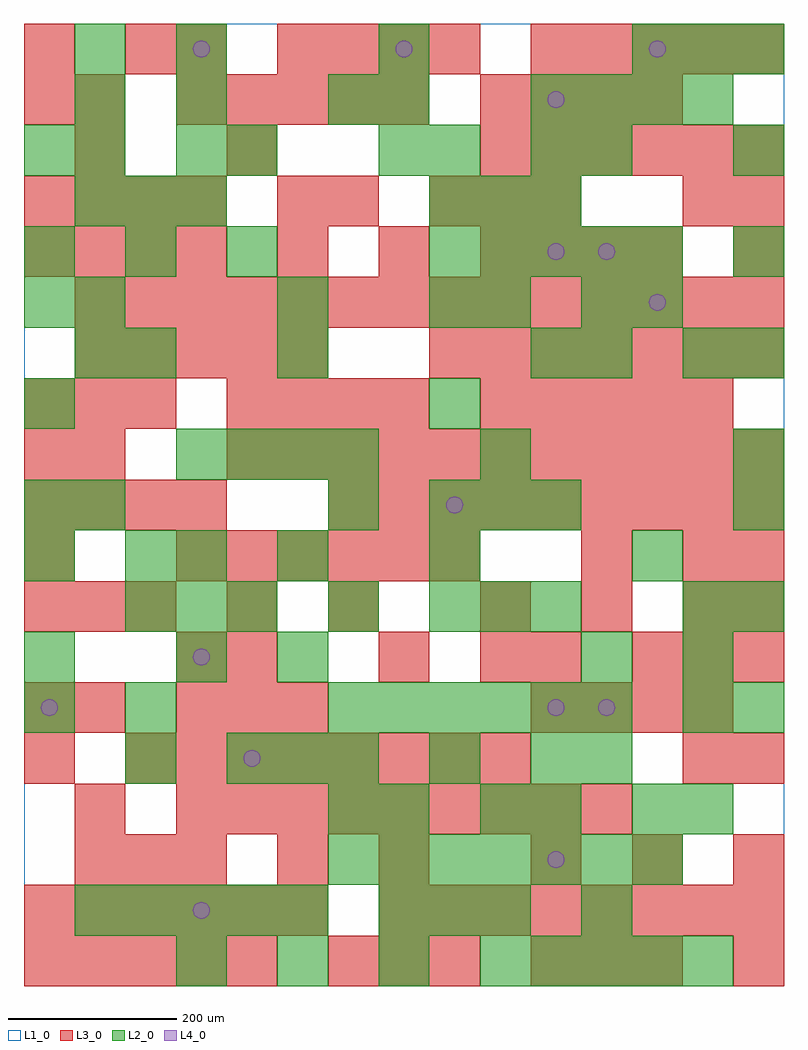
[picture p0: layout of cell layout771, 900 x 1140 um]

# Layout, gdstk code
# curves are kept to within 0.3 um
import gdstk
lib = gdstk.Library(unit=1e-6, precision=1e-09)
def R(c, l, rs):  # rectangles x0, y0, x1, y1
    for r in rs: c.add(gdstk.rectangle(r[:2], r[2:], *l))
def A(c, l, x, y, w, h, nx, ny, dx, dy):  # array of equal rectangles
    R(c, l, [(x+i*dx, y+j*dy, x+i*dx+w, y+j*dy+h) for i in range(nx) for j in range(ny)])
def P(c, l, *ps):  # polygons
    for p in ps: c.add(gdstk.Polygon(p, *l))
L1_0 = (1, 0)
L2_0 = (2, 0)
L3_0 = (3, 0)
L4_0 = (4, 0)

layout771 = lib.new_cell('layout771')
R(layout771, L1_0, [(0,0,900,1140)])
A(layout771, L2_0, 180, 0, 60, 60, 4, 1, 120, 0)
A(layout771, L2_0, 600, 0, 60, 60, 4, 2, 60, 1020)
A(layout771, L2_0, 60, 60, 60, 60, 5, 1, 60, 0)
A(layout771, L2_0, 420, 60, 60, 60, 3, 1, 60, 0)
A(layout771, L2_0, 360, 120, 60, 60, 7, 1, 60, 0)
A(layout771, L2_0, 720, 180, 60, 60, 1, 3, 0, 300)
A(layout771, L2_0, 240, 240, 60, 60, 3, 1, 60, 0)
A(layout771, L2_0, 360, 300, 60, 60, 6, 1, 60, 0)
A(layout771, L2_0, 780, 300, 60, 60, 1, 3, 0, 60)
A(layout771, L2_0, 840, 300, 60, 60, 1, 3, 0, 120)
A(layout771, L2_0, 120, 420, 60, 60, 3, 1, 60, 0)
A(layout771, L2_0, 480, 420, 60, 60, 3, 2, 60, 120)
A(layout771, L2_0, 0, 540, 60, 60, 1, 3, 0, 120)
A(layout771, L2_0, 180, 600, 60, 60, 4, 1, 60, 0)
A(layout771, L2_0, 840, 600, 60, 60, 1, 4, 0, 120)
A(layout771, L2_0, 0, 840, 60, 60, 3, 1, 120, 0)
A(layout771, L2_0, 480, 840, 60, 60, 5, 1, 60, 0)
A(layout771, L2_0, 60, 900, 60, 60, 3, 1, 60, 0)
A(layout771, L2_0, 480, 900, 60, 60, 3, 1, 60, 0)
A(layout771, L2_0, 60, 960, 60, 60, 1, 3, 0, 60)
A(layout771, L2_0, 180, 960, 60, 60, 1, 3, 0, 60)
A(layout771, L2_0, 420, 960, 60, 60, 1, 3, 0, 60)
A(layout771, L2_0, 720, 1080, 60, 60, 3, 1, 60, 0)
R(layout771, L2_0, [(660,60,720,120), (360,180,420,240), (420,180,480,240), (540,180,600,240), (600,180,660,240), (780,180,840,240), (120,240,180,300), (480,240,540,300), (600,240,660,300), (660,240,720,300), (0,300,60,360), (120,300,180,360), (0,360,60,420), (180,360,240,420), (300,360,360,420), (660,360,720,420), (360,420,420,480), (0,480,60,540), (120,480,180,540), (180,480,240,540), (300,480,360,540), (480,480,540,540), (60,540,120,600), (360,540,420,600), (540,600,600,660), (480,660,540,720), (60,720,120,780), (120,720,180,780), (300,720,360,780), (600,720,660,780), (660,720,720,780), (780,720,840,780), (60,780,120,840), (300,780,360,840), (480,780,540,840), (540,780,600,840), (660,780,720,840), (0,960,60,1020), (240,960,300,1020), (480,960,540,1020), (600,960,660,1020), (660,960,720,1020), (360,1020,420,1080)])
A(layout771, L3_0, 0, 0, 60, 60, 5, 1, 60, 0)
A(layout771, L3_0, 360, 0, 60, 60, 3, 1, 60, 0)
A(layout771, L3_0, 600, 0, 60, 60, 3, 2, 60, 840)
A(layout771, L3_0, 0, 60, 60, 60, 6, 1, 60, 0)
A(layout771, L3_0, 420, 60, 60, 60, 8, 1, 60, 0)
A(layout771, L3_0, 60, 120, 60, 60, 3, 1, 60, 0)
A(layout771, L3_0, 600, 120, 60, 60, 3, 1, 120, 0)
A(layout771, L3_0, 180, 180, 60, 60, 9, 1, 60, 0)
A(layout771, L3_0, 120, 240, 60, 60, 8, 1, 60, 0)
A(layout771, L3_0, 180, 300, 60, 60, 3, 1, 60, 0)
A(layout771, L3_0, 600, 300, 60, 60, 4, 1, 60, 0)
A(layout771, L3_0, 720, 360, 60, 60, 3, 1, 60, 0)
A(layout771, L3_0, 0, 420, 60, 60, 3, 2, 60, 240)
A(layout771, L3_0, 540, 420, 60, 60, 3, 1, 120, 0)
A(layout771, L3_0, 180, 480, 60, 60, 6, 1, 60, 0)
A(layout771, L3_0, 0, 540, 60, 60, 4, 2, 60, 300)
A(layout771, L3_0, 360, 540, 60, 60, 9, 1, 60, 0)
A(layout771, L3_0, 240, 600, 60, 60, 11, 1, 60, 0)
A(layout771, L3_0, 240, 660, 60, 60, 4, 1, 60, 0)
A(layout771, L3_0, 540, 660, 60, 60, 5, 1, 60, 0)
A(layout771, L3_0, 60, 720, 60, 60, 5, 1, 60, 0)
A(layout771, L3_0, 480, 720, 60, 60, 7, 1, 60, 0)
A(layout771, L3_0, 60, 780, 60, 60, 14, 1, 60, 0)
A(layout771, L3_0, 300, 840, 60, 60, 3, 1, 120, 0)
A(layout771, L3_0, 0, 900, 60, 60, 4, 1, 60, 0)
A(layout771, L3_0, 480, 900, 60, 60, 3, 1, 60, 0)
A(layout771, L3_0, 540, 960, 60, 60, 6, 1, 60, 0)
A(layout771, L3_0, 180, 1020, 60, 60, 5, 1, 60, 0)
A(layout771, L3_0, 540, 1020, 60, 60, 4, 1, 60, 0)
A(layout771, L3_0, 300, 1080, 60, 60, 4, 1, 60, 0)
A(layout771, L3_0, 600, 1080, 60, 60, 5, 1, 60, 0)
R(layout771, L3_0, [(840,0,900,60), (300,120,360,180), (420,120,480,180), (60,180,120,240), (0,240,60,300), (780,240,840,300), (840,240,900,300), (0,300,60,360), (60,300,120,360), (180,360,240,420), (240,360,300,420), (420,360,480,420), (540,360,600,420), (600,360,660,420), (240,420,300,480), (360,420,420,480), (840,420,900,480), (0,480,60,540), (660,480,720,540), (780,480,840,540), (840,480,900,540), (0,600,60,660), (60,600,120,660), (840,840,900,900), (300,900,360,960), (360,900,420,960), (780,900,840,960), (840,900,900,960), (60,960,120,1020), (240,960,300,1020), (0,1020,60,1080), (60,1020,120,1080), (0,1080,60,1140), (120,1080,180,1140), (180,1080,240,1140)])
P(layout771, L4_0, [(40,330),(39.239,333.827),(37.071,337.071),(33.827,339.239),(30,340),(26.173,339.239),(22.929,337.071),(20.761,333.827),(20,330),(20.761,326.173),(22.929,322.929),(26.173,320.761),(30,320),(33.827,320.761),(37.071,322.929),(39.239,326.173)],
  [(220,90),(219.239,93.827),(217.071,97.071),(213.827,99.239),(210,100),(206.173,99.239),(202.929,97.071),(200.761,93.827),(200,90),(200.761,86.173),(202.929,82.929),(206.173,80.761),(210,80),(213.827,80.761),(217.071,82.929),(219.239,86.173)],
  [(220,390),(219.239,393.827),(217.071,397.071),(213.827,399.239),(210,400),(206.173,399.239),(202.929,397.071),(200.761,393.827),(200,390),(200.761,386.173),(202.929,382.929),(206.173,380.761),(210,380),(213.827,380.761),(217.071,382.929),(219.239,386.173)],
  [(220,1110),(219.239,1113.827),(217.071,1117.071),(213.827,1119.239),(210,1120),(206.173,1119.239),(202.929,1117.071),(200.761,1113.827),(200,1110),(200.761,1106.173),(202.929,1102.929),(206.173,1100.761),(210,1100),(213.827,1100.761),(217.071,1102.929),(219.239,1106.173)],
  [(280,270),(279.239,273.827),(277.071,277.071),(273.827,279.239),(270,280),(266.173,279.239),(262.929,277.071),(260.761,273.827),(260,270),(260.761,266.173),(262.929,262.929),(266.173,260.761),(270,260),(273.827,260.761),(277.071,262.929),(279.239,266.173)],
  [(460,1110),(459.239,1113.827),(457.071,1117.071),(453.827,1119.239),(450,1120),(446.173,1119.239),(442.929,1117.071),(440.761,1113.827),(440,1110),(440.761,1106.173),(442.929,1102.929),(446.173,1100.761),(450,1100),(453.827,1100.761),(457.071,1102.929),(459.239,1106.173)],
  [(520,570),(519.239,573.827),(517.071,577.071),(513.827,579.239),(510,580),(506.173,579.239),(502.929,577.071),(500.761,573.827),(500,570),(500.761,566.173),(502.929,562.929),(506.173,560.761),(510,560),(513.827,560.761),(517.071,562.929),(519.239,566.173)],
  [(640,150),(639.239,153.827),(637.071,157.071),(633.827,159.239),(630,160),(626.173,159.239),(622.929,157.071),(620.761,153.827),(620,150),(620.761,146.173),(622.929,142.929),(626.173,140.761),(630,140),(633.827,140.761),(637.071,142.929),(639.239,146.173)],
  [(640,330),(639.239,333.827),(637.071,337.071),(633.827,339.239),(630,340),(626.173,339.239),(622.929,337.071),(620.761,333.827),(620,330),(620.761,326.173),(622.929,322.929),(626.173,320.761),(630,320),(633.827,320.761),(637.071,322.929),(639.239,326.173)],
  [(640,870),(639.239,873.827),(637.071,877.071),(633.827,879.239),(630,880),(626.173,879.239),(622.929,877.071),(620.761,873.827),(620,870),(620.761,866.173),(622.929,862.929),(626.173,860.761),(630,860),(633.827,860.761),(637.071,862.929),(639.239,866.173)],
  [(640,1050),(639.239,1053.827),(637.071,1057.071),(633.827,1059.239),(630,1060),(626.173,1059.239),(622.929,1057.071),(620.761,1053.827),(620,1050),(620.761,1046.173),(622.929,1042.929),(626.173,1040.761),(630,1040),(633.827,1040.761),(637.071,1042.929),(639.239,1046.173)],
  [(700,330),(699.239,333.827),(697.071,337.071),(693.827,339.239),(690,340),(686.173,339.239),(682.929,337.071),(680.761,333.827),(680,330),(680.761,326.173),(682.929,322.929),(686.173,320.761),(690,320),(693.827,320.761),(697.071,322.929),(699.239,326.173)],
  [(700,870),(699.239,873.827),(697.071,877.071),(693.827,879.239),(690,880),(686.173,879.239),(682.929,877.071),(680.761,873.827),(680,870),(680.761,866.173),(682.929,862.929),(686.173,860.761),(690,860),(693.827,860.761),(697.071,862.929),(699.239,866.173)],
  [(760,810),(759.239,813.827),(757.071,817.071),(753.827,819.239),(750,820),(746.173,819.239),(742.929,817.071),(740.761,813.827),(740,810),(740.761,806.173),(742.929,802.929),(746.173,800.761),(750,800),(753.827,800.761),(757.071,802.929),(759.239,806.173)],
  [(760,1110),(759.239,1113.827),(757.071,1117.071),(753.827,1119.239),(750,1120),(746.173,1119.239),(742.929,1117.071),(740.761,1113.827),(740,1110),(740.761,1106.173),(742.929,1102.929),(746.173,1100.761),(750,1100),(753.827,1100.761),(757.071,1102.929),(759.239,1106.173)])

lib.write_gds('layout771.gds')
